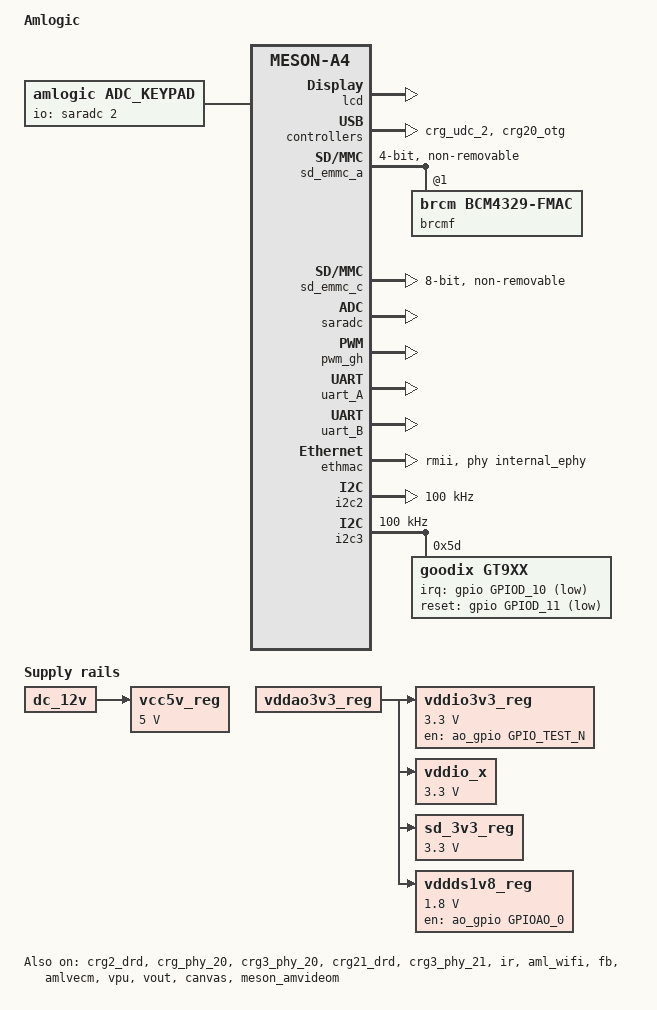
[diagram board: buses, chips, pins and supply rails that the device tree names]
// SPDX-License-Identifier: (GPL-2.0+ OR MIT)
/*
 * Copyright (c) 2021 Amlogic, Inc. All rights reserved.
 */

/dts-v1/;

#include "meson-a4.dtsi"
#include <dt-bindings/input/input.h>
#include "mesona4_ba400-panel.dtsi"

/ {
	lcd {
		status = "okay";
	};

	backlight{
		status = "okay";
	};
};

/ {
	model = "Amlogic";
	amlogic-dt-id = "a4_a113l2_ba400_sbr";
	compatible = "amlogic, a4";
	interrupt-parent = <&gic>;
	#address-cells = <2>;
	#size-cells = <2>;

	aliases {
		serial0 = &uart_B;
		serial1 = &uart_A;
		serial2 = &uart_D;
		serial3 = &uart_E;
		i2c0 = &i2c0;
		i2c1 = &i2c1;
		i2c2 = &i2c2;
		i2c3 = &i2c3;
		//spi0 = &spifc;
		spi1 = &spicc0;
		spi2 = &spicc1;
		tsensor0 = &p_tsensor;
	};

	memory@00000000 {
		device_type = "memory";
		linux,usable-memory = <0x0 0x0 0x0 0x40000000>;
	};

	reserved-memory {
		#address-cells = <2>;
		#size-cells = <2>;
		ranges;

		ramdump_bl33z@00000000 {
			reg = <0x0 0x0 0x0 0x1800000>; /* 0 ~ 24M */
			status = "disabled";
		};

		dsp_fw_reserved:linux,dsp_fw {
			compatible = "shared-dma-pool";
			reusable;
			size = <0x0 0x00800000>;
			alignment = <0x0 0x00400000>;
			alloc-ranges = <0x0 0x30000000 0x0 0x00800000>;
		};

		/* global autoconfigured region for contiguous allocations */
		ramoops@0x07400000 {
			compatible = "ramoops";
			reg = <0x0 0x07400000 0x0 0x00100000>;
			record-size = <0x20000>;
			console-size = <0x40000>;
			ftrace-size = <0x80000>;
			pmsg-size = <0x20000>;
		};

		secmon_reserved:linux,secmon {
			compatible = "shared-dma-pool";
			reusable;
			size = <0x0 0x3400000>;
			alignment = <0x0 0x400000>;
			alloc-ranges = <0x0 0x05000000 0x0 0x00c00000>;
		};

		logo_reserved:linux,meson-fb {
			compatible = "shared-dma-pool";
			reusable;
			/* keep sync with fb */
			/* fox example:logo_addr = "0x3f800000"*/
			size = <0x0 0x0>;
			alignment = <0x0 0x400000>;
			reg = <0x0 0x3f000000 0x0 0xc00000>;
		};

		ion_cma_reserved:linux,ion-dev {
			compatible = "shared-dma-pool";
			reusable;
			size = <0x0 0x2000000>;
			alignment = <0x0 0x400000>;
		};
		codec_mm_cma:linux,codec_mm_cma {
			compatible = "shared-dma-pool";
			reusable;
			/* ion_codec_mm max can alloc size 80M*/
			size = <0x0 0x1000000>;
			alignment = <0x0 0x400000>;
			linux,contiguous-region;
		};

		/* codec shared reserved */
		codec_mm_reserved:linux,codec_mm_reserved {
			compatible = "amlogic, codec-mm-reserved";
			size = <0x0 0x0>;
			alignment = <0x0 0x100000>;
			//no-map;
		};
	};

/*	codec_mm {
		compatible = "amlogic, codec, mm";
		memory-region = <&codec_mm_cma &codec_mm_reserved>;
		dev_name = "codec_mm";
		status = "okay";
	};
*/
	vcc5v_reg: fixed@vcc5v_reg{
		vin-supply = <&dc_12v>;
		compatible = "regulator-fixed";
		regulator-name = "VCC5V";
		regulator-min-microvolt = <5000000>;
		regulator-max-microvolt = <5000000>;
		//BA400 2R52 is NC;
		//gpio = <&ao_gpio GPIO_TEST_N GPIO_ACTIVE_HIGH>;
		//enable-active-high;
		regulator-boot-on;
		//regulator-always-on;
	};

	vddio3v3_reg: fixed@vddio3v3_reg{
		vin-supply = <&vddao3v3_reg>;
		compatible = "regulator-fixed";
		regulator-name = "VDDIO_3V3";
		regulator-min-microvolt = <3300000>;
		regulator-max-microvolt = <3300000>;
		gpio = <&ao_gpio GPIO_TEST_N GPIO_ACTIVE_HIGH>;
		enable-active-high;
		regulator-boot-on;
		regulator-always-on;
	};

	vddio_x: fixed@vddio_x {
		vin-supply = <&vddao3v3_reg>;
		compatible = "regulator-fixed";
		regulator-name = "VDDIO_X";
		regulator-min-microvolt = <3300000>;
		regulator-max-microvolt = <3300000>;
		// for led use GPIOD_8
		//gpios = <&gpio GPIOD_8 GPIO_ACTIVE_HIGH>;
		regulator-boot-on;
		regulator-always-on;
	};

	sd_3v3_reg: fixed@sd_3v3_reg{
		vin-supply = <&vddao3v3_reg>;
		compatible = "regulator-fixed";
		regulator-name = "SD_3V3";
		regulator-min-microvolt = <3300000>;
		regulator-max-microvolt = <3300000>;
		regulator-boot-on;
		regulator-always-on;
	};

	vddds1v8_reg: fixed@vddds1v8_reg{
		vin-supply = <&vddao3v3_reg>;
		compatible = "regulator-fixed";
		regulator-name = "VDD_DSOFF_1V8";
		regulator-min-microvolt = <1800000>;
		regulator-max-microvolt = <1800000>;
		gpio = <&ao_gpio GPIOAO_0 GPIO_ACTIVE_HIGH>;
		enable-active-high;
		regulator-boot-on;
		regulator-always-on;
	};

	provisionkey {
		compatible = "amlogic, provisionkey";
		status = "disabled";
		key-permit-default = "write";
		//new key not need add dts if started with KEY_PROVISION_
		KEY_PROVISION_XXX { };
		//test_my_added_keyname { };
	};//End provisionkey

	unifykey{
		compatible = "amlogic,unifykey";
		status = "okay";
		unifykey-num = <8>;
		unifykey-index-0 = <&keysn_0>;
		unifykey-index-1 = <&keysn_1>;
		unifykey-index-2 = <&keysn_2>;
		unifykey-index-3 = <&keysn_3>;
		unifykey-index-4 = <&keysn_4>;
		unifykey-index-5 = <&keysn_5>;
		unifykey-index-6 = <&keysn_6>;
		unifykey-index-7 = <&keysn_7>;

		keysn_0:key_0{
			key-name = "usid";
			key-device = "normal";
			key-permit = "read","write","del";
		};
		keysn_1:key_1{
			key-name = "mac";
			key-device = "normal";
			key-permit = "read","write","del";
		};
		keysn_2:key_2{
			key-name = "secure_boot_set";
			key-device = "efuse";
			key-permit = "write";
		};
		keysn_3:key_3{
			key-name = "mac_bt";
			key-device = "normal";
			key-permit = "read","write","del";
			key-type  = "mac";
		};
		keysn_4:key_4{
			key-name = "mac_wifi";
			key-device = "normal";
			key-permit = "read","write","del";
			key-type = "mac";
		};
		keysn_5:key_5{
			key-name = "deviceid";
			key-device = "normal";
			key-permit = "read","write","del";
		};
		keysn_6:key_6{
			key-name = "region_code";
			key-device = "normal";
			key-permit = "read","write","del";
		};
		keysn_7:key_7{
			key-name = "oemkey";
			key-device = "normal";
			key-permit = "read","write","del";
		};
	};//End unifykey

	efusekey:efusekey{
		keynum = <4>;
		key0 = <&key_0>;
		key1 = <&key_1>;
		key2 = <&key_2>;
		key3 = <&key_3>;
		key_0:key_0{
			keyname = "mac";
			offset = <0>;
			size = <6>;
		};
		key_1:key_1{
			keyname = "mac_bt";
			offset = <6>;
			size = <6>;
		};
		key_2:key_2{
			keyname = "mac_wifi";
			offset = <12>;
			size = <6>;
		};
		key_3:key_3{
			keyname = "usid";
			offset = <18>;
			size = <16>;
		};
	};//End efusekey

	adc_keypad {
		compatible = "amlogic, adc_keypad";
		status = "okay";
		key_name = "update", "vol-", "vol+", "ok" ,"power";
		key_num = <5>;
		io-channels = <&saradc 2>;
		io-channel-names = "key-chan-2";
		key_chan = <2 2 2 2 2>;
		key_code = <KEY_SETUP KEY_VOLUMEDOWN KEY_VOLUMEUP KEY_ENTER KEY_POWER>;
		key_val = <0 143 266 389 512>; /* val=voltage/1800mV*1023 */
		key_tolerance = <40 40 40 40 40>;
	};

	gpio_keypad {
		compatible = "amlogic, gpio_keypad";
		status = "disabled";
		scan_period = <20>;
		key_num = <1>;
		key_name = "mute";
		key_code = <SW_MUTE_DEVICE>;
		key_type = <EV_SW>;
		key-gpios = <&gpio GPIOD_11 GPIO_ACTIVE_HIGH>;
		detect_mode = <0>; /* 0:polling mode, 1:irq mode */
	};

	partitions: partitions{
		parts = <5>;
		part-0 = <&recovery>;
		part-1 = <&misc>;
		part-2 = <&boot>;
		part-3 = <&system>;
		part-4 = <&data>;

		recovery:recovery{
			pname = "recovery";
			size = <0x0 0x2000000>;
			mask = <1>;
		};
		misc:misc{
			pname = "misc";
			size = <0x0 0x800000>;
			mask = <1>;
		};
		boot:boot
		{
			pname = "boot";
			size = <0x0 0x4000000>;
			mask = <1>;
		};
		system:system
		{
			pname = "system";
			size = <0x0 0x40000000>;
			mask = <1>;
		};
		data:data
		{
			pname = "data";
			size = <0xffffffff 0xffffffff>;
			mask = <4>;
		};
	};
};

&crg_udc_2 {
	status = "okay";
};

&crg20_otg {
	status = "okay";
	controller-type = <3>;
};

&crg2_drd {
	compatible = "amlogic, crg-host-drd";
	status = "okay";
};

&crg_phy_20 {
	status = "okay";
	portnum = <2>;
	gpio-vbus-power = "GPIOD_6";
	gpios = <&gpio GPIOD_6 GPIO_ACTIVE_HIGH>;
};

&crg3_phy_20 {
	status = "okay";
	portnum = <0>;
};

&crg21_drd {
	compatible = "amlogic, crg-drd";
	status = "okay";
};

&crg_phy_21 {
	status = "disabled";
	portnum = <1>;
	gpio-vbus-power = "GPIOD_10";
	gpios = <&gpio GPIOD_10 GPIO_ACTIVE_HIGH>;
};

&crg3_phy_21 {
	status = "okay";
	portnum = <0>;
};

/* SDIO */
&sd_emmc_a {
	status = "okay";
	pinctrl-0 = <&sdio_pins>;
	pinctrl-1 = <&sdio_clk_gate_pins>;
	pinctrl-names = "default", "clk-gate";
	#address-cells = <1>;
	#size-cells = <0>;

	bus-width = <4>;
	cap-sd-highspeed;
	sd-uhs-sdr12;
	sd-uhs-sdr25;
	sd-uhs-sdr50;
	sd-uhs-sdr104;
	max-frequency = <200000000>;

	non-removable;
	disable-wp;
	card_type = <3>;
	cap-sdio-irq;
	keep-power-in-suspend;

	//vmmc-supply = <&vddao_3v3>;
	//vqmmc-supply = <&vddio_ao1v8>;

	brcmf: wifi@1 {
		reg = <1>;
		compatible = "brcm,bcm4329-fmac";
	};
};

/* SD card pxp bringup */
//&sd_emmc_a {
//	status = "okay";
//	pinctrl-0 = <&sdcard_pins>;
//	pinctrl-1 = <&sdcard_clk_gate_pins>;
//	pinctrl-2 = <&sd_1bit_pins>;
//	pinctrl-names = "sd_default",
//			"clk-gate",
//			"sd_1bit_pins";
//	bus-width = <4>;
//	cap-sd-highspeed;
//	max-frequency = <200000000>;
//	disable-wp;
//	card_type = <5>;
//
//	cd-gpios = <&gpio GPIOX_7 GPIO_ACTIVE_HIGH>;
//	//vmmc-supply = <&vddao_3v3>;
//	//vqmmc-supply = <&emmc_1v8>;
//};

/* SD card */
&sd_emmc_b {
	status = "disabled";
	pinctrl-0 = <&sdcard_pins>;
	pinctrl-1 = <&sdcard_clk_gate_pins>;
	pinctrl-2 = <&sd_1bit_pins>;
	pinctrl-3 = <&sd_to_ao_uart_clr_pins
		&sdcard_pins &ao_to_sd_uart_pins>;
	pinctrl-4 = <&sd_to_ao_uart_clr_pins
		&sd_1bit_pins &ao_to_sd_uart_pins>;
	pinctrl-5 = <&sdcard_pins &ao_uart_pins>;
	pinctrl-6 = <&sd_to_ao_uart_clr_pins
		&ao_to_sd_uart_pins>;
	pinctrl-7 = <&sdcard_pins &ao_uart_pins>;
	pinctrl-8 = <&sd_to_ao_uart_clr_pins
		&ao_to_sd_uart_pins>;
	pinctrl-names = "sd_default",
			"clk-gate",
			"sd_1bit_pins",
			"sd_clk_cmd_uart_pins",
			"sd_1bit_uart_pins",
			"sd_to_ao_uart_pins",
			"ao_to_sd_uart_pins",
			"sd_to_ao_jtag_pins",
			"ao_to_sd_jtag_pins";
	bus-width = <4>;
	cap-sd-highspeed;
//	sd-uhs-sdr12;
//	sd-uhs-sdr25;
//	sd-uhs-sdr50;
//	sd_uhs-sdr104;
	max-frequency = <200000000>;
	disable-wp;

	//cd-gpios = <&gpio GPIOC_6 GPIO_ACTIVE_HIGH>;
	//dat1-gpios = <&gpio GPIOC_1 GPIO_ACTIVE_HIGH>;
	//vmmc-supply = <&sd_3v3_reg>;
	//vqmmc-supply = <&vddio_x>;
};

&sd_emmc_c {
	status = "okay";
	pinctrl-0 = <&emmc_pins>, <&emmc_ds_pins>;
	pinctrl-1 = <&emmc_clk_gate_pins>;
	pinctrl-2 = <&emmc_pins_sleep>;
	pinctrl-names = "default", "clk-gate", "sleep";

	bus-width = <8>;
	cap-mmc-highspeed;
	mmc-ddr-1_8v;
	mmc-hs200-1_8v;
	mmc-hs400-1_8v;
	max-frequency = <200000000>;
	non-removable;
	disable-wp;

//	mmc-pwrseq = <&emmc_pwrseq>;
//	vmmc-supply = <&vddao_3v3>;
//	vqmmc-supply = <&vddao_1v8>;
};

&mtd_nand {
	status = "disabled";
	#address-cells = <1>;
	#size-cells = <0>;

	pinctrl-names = "nand_norb_mod","nand_cs_only";
	pinctrl-0 = <&all_nand_pins>;
	pinctrl-1 = <&nand_cs_pins>;
	bl_mode = <1>;
	fip_copies = <4>;
	fip_size = <0x200000>;
	ship_bad_block = <1>;
	disa_irq_flag = <1>;
	nand@bootloader {
		reg = <0>;
		#address-cells = <1>;
		#size-cells = <1>;
		nand-ecc-maximize;
		partition@0 {
			label = "bootloader";
			reg = <0x0 0x00000000>;
		};
	};
	nand@normal {
		reg = <0>;
		#address-cells = <1>;
		#size-cells = <1>;
		nand-ecc-maximize;

		partition@0 {
			label = "bl2e";
			reg = <0x0 0x00000000>;
		};
		partition@1 {
			label = "bl2x";
			reg = <0x0 0x00000000>;
		};
		partition@2 {
			label = "ddrfip";
			reg = <0x0 0x00000000>;
		};
		partition@3 {
			label = "tpl";
			reg = <0x0 0x00000000>;
		};
		partition@4 {
			label = "logo";
			reg = <0x0 0x00200000>;
		};
		partition@5 {
			label = "recovery";
			reg = <0x0 0x1000000>;
		};
		partition@6 {
			label = "boot";
			reg = <0x0 0x0F00000>;
		};
		partition@7 {
			label = "system";
			reg = <0x0 0x11800000>;
		};
		partition@8 {
			label = "data";
			reg = <0x0 0xffffffff>;
		};
	};
};

&saradc {
	status = "okay";
};

&ir {
	status = "okay";
	pinctrl-0 = <&remote_pins>;
	pinctrl-names = "default";
};

&spicc0 {
	status = "disabled";
	pinctrl-names = "default";
	pinctrl-0 = <&spicc0_pins_t>;
};

&spicc1 {
	status = "disabled";
	pinctrl-names = "default";
	pinctrl-0 = <&spicc1_pins_t>;
};

&aml_wifi{
	status = "okay";
	interrupt-gpios = <&ao_gpio  GPIOAO_2  GPIO_ACTIVE_HIGH>;
	power_on-gpios = <&gpio   GPIOX_6  GPIO_ACTIVE_HIGH>;
};

&aml_bt {
	status = "disabled";
	reset-gpios = <&gpio GPIOX_16 GPIO_ACTIVE_HIGH>;
	//btwakeup-gpios = <&gpio    GPIOX_18 GPIO_ACTIVE_HIGH>;
	//hostwake-gpios = <&gpio GPIOX_19 GPIO_ACTIVE_HIGH>;
};

&pwm_gh {
	status = "okay";
};

&fb {
	status = "okay";
	display_size_default = <1280 720 1280 1440 32>;
	mem_size = <0x00400000 0x800000>;
	logo_addr = "0x3f000000";
	/* display_device_cnt = <2>; */ /* for dual screen upport */
	mem_alloc = <1>;
	pxp_mode = <0>; /** 0:normal mode 1:pxp mode */
};

&uart_A {
	status = "okay";
	uart-has-rtscts;
};

&uart_B {
	status = "okay";
};

&ethmac {
	status = "okay";
	phy-handle = <&internal_ephy>;
	phy-mode = "rmii";
};

&i2c2 {
	status = "okay";
	pinctrl-names="default";
	pinctrl-0=<&i2c2_pins1>;
	clock-frequency = <100000>;
};

&i2c3 {
	status = "okay";
	pinctrl-names="default";
	pinctrl-0=<&i2c3_pins1>;
	clock-frequency = <100000>;

	gt9xx@5d {
		compatible = "goodix,gt9xx";
		status = "okay";
		reg = <0x5d>;
		irq-gpios = <&gpio GPIOD_10 GPIO_ACTIVE_LOW>;
		reset-gpios = <&gpio GPIOD_11 GPIO_ACTIVE_LOW>;

		touchscreen-size-x = <1024>;
		touchscreen-size-y = <600>;
		touchscreen-max-w = <1024>;
		touchscreen-max-p = <1024>;
	};

};

&custom_maps{
		mapnum = <4>;
		map0 = <&map_0>;
		map1 = <&map_1>;
		map2 = <&map_2>;
		map3 = <&map_3>;
		map_0: map_0{
			mapname = "amlogic-remote-1";
			customcode = <0xfb04>;
			release_delay = <80>;
			size  = <50>;   /*keymap size*/
			keymap = <REMOTE_KEY(0x47, KEY_0)
				REMOTE_KEY(0x13, KEY_1)
				REMOTE_KEY(0x10, KEY_2)
				REMOTE_KEY(0x11, KEY_3)
				REMOTE_KEY(0x0F, KEY_4)
				REMOTE_KEY(0x0C, KEY_5)
				REMOTE_KEY(0x0D, KEY_6)
				REMOTE_KEY(0x0B, KEY_7)
				REMOTE_KEY(0x08, KEY_8)
				REMOTE_KEY(0x09, KEY_9)
				REMOTE_KEY(0x5C, KEY_RIGHTCTRL)
				REMOTE_KEY(0x51, KEY_F3)
				REMOTE_KEY(0x50, KEY_F4)
				REMOTE_KEY(0x40, KEY_F5)
				REMOTE_KEY(0x4d, KEY_F6)
				REMOTE_KEY(0x43, KEY_F7)
				REMOTE_KEY(0x17, KEY_F8)
				REMOTE_KEY(0x00, KEY_F9)
				REMOTE_KEY(0x01, KEY_F10)
				REMOTE_KEY(0x16, KEY_F11)
				REMOTE_KEY(0x49, KEY_BACKSPACE)
				REMOTE_KEY(0x06, KEY_PROPS)
				REMOTE_KEY(0x14, KEY_UNDO)
				REMOTE_KEY(0x44, KEY_UP)
				REMOTE_KEY(0x1D, KEY_DOWN)
				REMOTE_KEY(0x1C, KEY_LEFT)
				REMOTE_KEY(0x48, KEY_RIGHT)
				REMOTE_KEY(0x53, KEY_LEFTMETA)
				REMOTE_KEY(0x45, KEY_PAGEUP)
				REMOTE_KEY(0x19, KEY_PAGEDOWN)
				REMOTE_KEY(0x52, KEY_PAUSE)
				REMOTE_KEY(0x05, KEY_HANGEUL)
				REMOTE_KEY(0x59, KEY_HANJA)
				REMOTE_KEY(0x1b, KEY_SCALE)
				REMOTE_KEY(0x04, KEY_KPCOMMA)
				REMOTE_KEY(0x1A, KEY_POWER)
				REMOTE_KEY(0x0A, KEY_TAB)
				REMOTE_KEY(0x0e, KEY_MUTE)
				REMOTE_KEY(0x1F, KEY_HOME)
				REMOTE_KEY(0x1e, KEY_FRONT)
				REMOTE_KEY(0x07, KEY_COPY)
				REMOTE_KEY(0x12, KEY_OPEN)
				REMOTE_KEY(0x54, KEY_PASTE)
				REMOTE_KEY(0x02, KEY_FIND)
				REMOTE_KEY(0x4f, KEY_A)
				REMOTE_KEY(0x42, KEY_B)
				REMOTE_KEY(0x5d, KEY_C)
				REMOTE_KEY(0x4c, KEY_D)
				REMOTE_KEY(0x58, KEY_CUT)
				REMOTE_KEY(0x55, KEY_CALC)>;
		};
		map_1: map_1{
			mapname = "amlogic-remote-2";
			customcode = <0xfe01>;
			release_delay = <80>;
			size  = <57>;
			keymap = <
				REMOTE_KEY(0x10, 200) /* power */
				REMOTE_KEY(0x1f, 201) /* eject-->input source */
				REMOTE_KEY(0x01, 202) /* usb */
				REMOTE_KEY(0x02, 203) /* bt */
				REMOTE_KEY(0x03, 204) /* aux */
				REMOTE_KEY(0x04, 205) /* scan-->hdmi arc */
				REMOTE_KEY(0x05, 206) /* spdif */
				REMOTE_KEY(0x06, 207) /* hdmi1 */
				REMOTE_KEY(0x07, 208) /* hdmi2 */
				REMOTE_KEY(0x17, 209) /* mute */
				REMOTE_KEY(0x0c, 210) /* vol+ */
				REMOTE_KEY(0x0d, 211) /* vol- */
				REMOTE_KEY(0x53, 212) /* DAP */
				REMOTE_KEY(0x52, 213) /* BM */
				REMOTE_KEY(0x49, 214) /* DRC */
				REMOTE_KEY(0x46, 215) /* POST */
				REMOTE_KEY(0x58, 216) /* UPMIX */
				REMOTE_KEY(0x5a, 217) /* VIRT */
				REMOTE_KEY(0x39, 218) /* VLAMP */
				REMOTE_KEY(0x40, 219) /* HFILT */
				REMOTE_KEY(0x42, 220) /* Loundness */
				REMOTE_KEY(0x1e, 221) /* VMCAL/cspread */
				REMOTE_KEY(0xb1, 222) /* CD */
				REMOTE_KEY(0xb4, 223) /* CD */
				REMOTE_KEY(0xb9, 224) /* CD */
				REMOTE_KEY(0x08, 225) /* loop */
				REMOTE_KEY(0x91, 226) /* CD */
				REMOTE_KEY(0x92, 227) /* CD */
				REMOTE_KEY(0x89, 228) /* CD */
				REMOTE_KEY(0x88, 229) /* CD */
				REMOTE_KEY(0x59, 230) /* Audio_info */
				REMOTE_KEY(0x84, 231) /* CD */
				REMOTE_KEY(0x1c, 232) /* DRC X+0.1 */
				REMOTE_KEY(0x1b, 233) /* DRC X-0.1 */
				REMOTE_KEY(0x19, 234) /* up/DRC Y+0.1 */
				REMOTE_KEY(0x1a, 235) /* down/DRC Y-0.1 */
				REMOTE_KEY(0xa0, 236) /* CD */
				REMOTE_KEY(0x0b, 237) /* Soft mute */
				REMOTE_KEY(0x0f, 238) /* soft vol- */
				REMOTE_KEY(0x0e, 239) /* soft vol+ */
				REMOTE_KEY(0x11, 240) /* Resume */
				REMOTE_KEY(0x57, 241) /* Pause */
				REMOTE_KEY(0x44, 242) /* LEGACY */
				REMOTE_KEY(0xa7, 243) /* CD */
				REMOTE_KEY(0x09, 244) /* random */
				REMOTE_KEY(0x00, 245) /* dtsx direct mode */
				REMOTE_KEY(0x0a, 246) /* dtsx drc  */
				REMOTE_KEY(0x5b, 247) /* dtsx imax  */
				REMOTE_KEY(0x13, 248) /* dtsx dialog gain  */
				REMOTE_KEY(0x41, 249) /* dtsx dialog norm  */
				REMOTE_KEY(0x43, 250) /* dtsx spkrout */
				REMOTE_KEY(0x15, 251) /* pcm surround effect */
				REMOTE_KEY(0x4b, 252) /* dtsvx enable */
				REMOTE_KEY(0x54, 253) /* dtsvx surround */
				REMOTE_KEY(0x4c, 254) /* dtsvx dialog clarity */
				REMOTE_KEY(0x4e, 255) /* dtsvx truvolhd */
				REMOTE_KEY(0x55, 256) /* dtsvx vol leveling*/
				>;
		};
		map_2: map_2{
			mapname = "amlogic-remote-3";
			customcode = <0xbd02>;
			release_delay = <80>;
			size  = <17>;
			keymap = <REMOTE_KEY(0xca,103)
			REMOTE_KEY(0xd2,108)
			REMOTE_KEY(0x99,105)
			REMOTE_KEY(0xc1,106)
			REMOTE_KEY(0xce,97)
			REMOTE_KEY(0x45,116)
			REMOTE_KEY(0xc5,133)
			REMOTE_KEY(0x80,113)
			REMOTE_KEY(0xd0,15)
			REMOTE_KEY(0xd6,125)
			REMOTE_KEY(0x95,102)
			REMOTE_KEY(0xdd,104)
			REMOTE_KEY(0x8c,109)
			REMOTE_KEY(0x89,131)
			REMOTE_KEY(0x9c,130)
			REMOTE_KEY(0x9a,120)
			REMOTE_KEY(0xcd,121)>;
		};
		map_3: map_3{
			mapname = "amlogic-remote-3";
			customcode = <0xa4e8>; /* Reference Remote Control */
			release_delay = <80>;
			size  = <45>;
			keymap = <
				REMOTE_KEY(0xc7, 200) /* power */
				REMOTE_KEY(0x93, 201) /* eject-->input source */
				REMOTE_KEY(0xb2, 202) /* usb */
				REMOTE_KEY(0xb8, 203) /* bt */
				REMOTE_KEY(0xb7, 204) /* aux */
				REMOTE_KEY(0x8a, 205) /* scan-->hdmi arc */
				REMOTE_KEY(0x96, 206) /* spdif */
				REMOTE_KEY(0x90, 207) /* hdmi1 */
				REMOTE_KEY(0xa8, 208) /* hdmi2 */
				REMOTE_KEY(0x85, 209) /* mute */
				REMOTE_KEY(0x80, 210) /* vol+ */
				REMOTE_KEY(0x81, 211) /* vol- */
				REMOTE_KEY(0x61, 212) /* DAP */
				REMOTE_KEY(0x62, 213) /* BM */
				REMOTE_KEY(0x63, 214) /* DRC */
				REMOTE_KEY(0x64, 215) /* POST */
				REMOTE_KEY(0x65, 216) /* UPMIX */
				REMOTE_KEY(0x66, 217) /* VIRT */
				REMOTE_KEY(0x67, 218) /* VLAMP */
				REMOTE_KEY(0x68, 219) /* HFILT */
				REMOTE_KEY(0x69, 220) /* Loundness */
				REMOTE_KEY(0x60, 221) /* VMCAL/cspread */
				REMOTE_KEY(0xb1, 222) /* CD */
				REMOTE_KEY(0xb4, 223) /* CD */
				REMOTE_KEY(0xb9, 224) /* CD */
				REMOTE_KEY(0xab, 225) /* loop */
				REMOTE_KEY(0x91, 226) /* CD */
				REMOTE_KEY(0x92, 227) /* CD */
				REMOTE_KEY(0x89, 228) /* CD */
				REMOTE_KEY(0x88, 229) /* CD */
				REMOTE_KEY(0xa5, 230) /* Audio_info */
				REMOTE_KEY(0x84, 231) /* CD */
				REMOTE_KEY(0x72, 232) /* DRC X+0.1 */
				REMOTE_KEY(0x73, 233) /* DRC X-0.1 */
				REMOTE_KEY(0x9a, 234) /* up/DRC Y+0.1 */
				REMOTE_KEY(0x9b, 235) /* down/DRC Y-0.1 */
				REMOTE_KEY(0xa0, 236) /* CD */
				REMOTE_KEY(0x71, 237) /* Soft mute */
				REMOTE_KEY(0x74, 238) /* soft vol- */
				REMOTE_KEY(0x75, 239) /* soft vol+ */
				REMOTE_KEY(0x7e, 240) /* Resume */
				REMOTE_KEY(0x7f, 241) /* Pause */
				REMOTE_KEY(0x7a, 242) /* LEGACY */
				REMOTE_KEY(0xa7, 243) /* CD */
				REMOTE_KEY(0xa9, 244) /* random */
				>;
		};
};

&amlvecm {
	status = "okay";
	gamma_en = <0>;/*1:enable ;0:disable*/
	wb_en = <0>;/*1:enable ;0:disable*/
	vlock_en = <0>;/*1:enable;0:disable*/
};

&vpu {
	status = "okay";
};

&vout {
	status = "okay";
};

&canvas {
	status = "okay";
};

&fb {
	status = "okay";
};

&meson_amvideom {
	status = "okay";
};

&jtag {
	status = "disabled";
};
